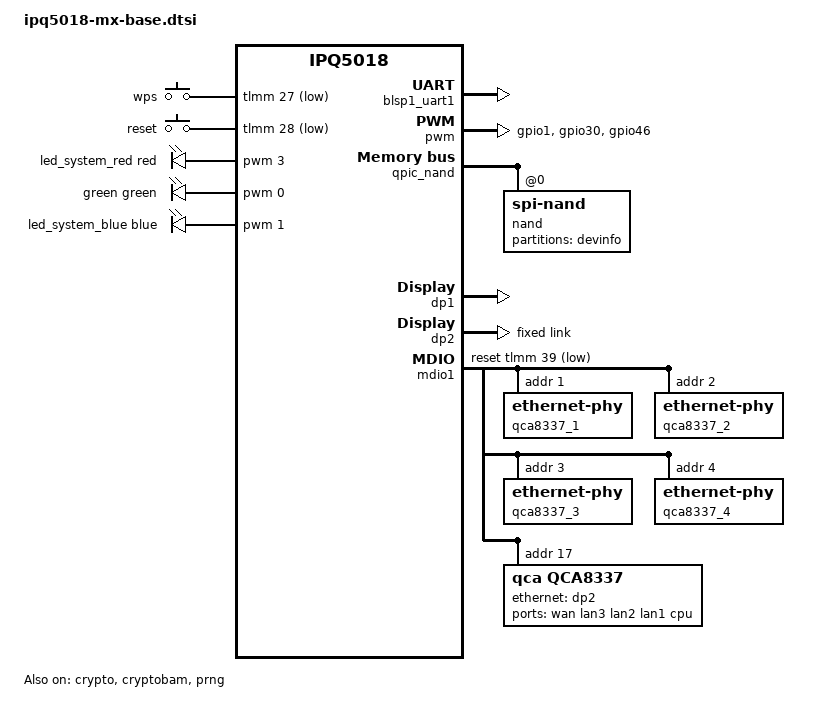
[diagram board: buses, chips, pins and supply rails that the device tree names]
// SPDX-License-Identifier: GPL-2.0-or-later OR MIT

#include "ipq5018.dtsi"
#include "ipq5018-ess.dtsi"
#include "ipq5018-nss.dtsi"

#include <dt-bindings/gpio/gpio.h>
#include <dt-bindings/input/input.h>
#include <dt-bindings/leds/common.h>

/ {

	aliases {
		led-boot = &led_system_blue;
		led-failsafe = &led_system_red;
		led-running = &led_system_blue;
		led-upgrade = &led_system_red;
		serial0 = &blsp1_uart1;
	};

	keys {
		compatible = "gpio-keys";

		wps-button {
			label = "wps";
			gpios = <&tlmm 27 GPIO_ACTIVE_LOW>;
			linux,code = <KEY_WPS_BUTTON>;
		};

		reset-button {
			label = "reset";
			gpios = <&tlmm 28 GPIO_ACTIVE_LOW>;
			linux,code = <KEY_RESTART>;
		};
	};

	leds {
		compatible = "pwm-leds";

		led_system_red: system-red {
			color = <LED_COLOR_ID_RED>;
			function = LED_FUNCTION_POWER;
			pwms = <&pwm 3 1250000>;
			max-brightness = <255>;
		};

		green {
			color = <LED_COLOR_ID_GREEN>;
			function = LED_FUNCTION_POWER;
			pwms = <&pwm 0 1250000>;
			max-brightness = <255>;
		};

		led_system_blue: system-blue {
			color = <LED_COLOR_ID_BLUE>;
			function = LED_FUNCTION_POWER;
			pwms = <&pwm 1 1250000>;
			max-brightness = <255>;
		};
	};
};

&sleep_clk {
	clock-frequency = <32000>;
};

&xo_board_clk {
	clock-div = <4>;
	clock-mult = <1>;
};

&blsp1_uart1 {
	status = "okay";

	pinctrl-0 = <&serial_0_pins>;
	pinctrl-names = "default";
};

&crypto {
	status = "okay";
};

&cryptobam {
	status = "okay";
};

&prng {
	status = "okay";
};

&pwm {
	status = "okay";

	#pwm-cells = <2>;
	pinctrl-0 = <&pwm_pins>;
	pinctrl-names = "default";
};

&qpic_nand {
	status = "okay";

	pinctrl-0 = <&qpic_pins>;
	pinctrl-names = "default";

	nand@0 {
		compatible = "spi-nand";
		reg = <0>;
		nand-ecc-engine = <&qpic_nand>;
		nand-ecc-strength = <4>;
		nand-ecc-step-size = <512>;
		nand-bus-width = <8>;

		partitions {
			compatible = "qcom,smem-part";

			partition-devinfo {
				label = "devinfo";
				read-only;

				nvmem-layout {
					compatible = "ascii-eq-delim-env";
					#address-cells = <1>;
					#size-cells = <1>;

					hw_mac_addr: hw_mac_addr {
						compatible = "mac-base";
						#nvmem-cell-cells = <1>;
					};
				};
			};
		};
	};
};

&tlmm {
	pwm_pins: pwm-pins {
		mux_1 {
			pins = "gpio1";
			function = "pwm1";
			drive-strength = <8>;
		};

		mux_2 {
			pins = "gpio30";
			function = "pwm3";
			drive-strength = <8>;
		};

		mux_3 {
			pins = "gpio46";
			function = "pwm0";
			drive-strength = <8>;
		};
	};
};

&dp1 {
	status = "okay";
};

&dp2 {
	status = "okay";

	nvmem-cells = <&hw_mac_addr 0>;
	nvmem-cell-names = "mac-address";

	fixed-link {
		speed = <1000>;
		full-duplex;
	};
};

&mdio1 {
	status = "okay";

	pinctrl-0 = <&mdio1_pins>;
	pinctrl-names = "default";
	reset-gpios = <&tlmm 39 GPIO_ACTIVE_LOW>;

	qca8337_1: ethernet-phy@1 {
		reg = <1>;
	};

	qca8337_2: ethernet-phy@2 {
		reg = <2>;
	};

	qca8337_3: ethernet-phy@3 {
		reg = <3>;
	};

	qca8337_4: ethernet-phy@4 {
		reg = <4>;
	};

	qca8337: ethernet-switch@17 {
		compatible = "qca,qca8337";
		#address-cells = <1>;
		#size-cells = <0>;
		reg = <17>;

		ports {
			#address-cells = <1>;
			#size-cells = <0>;

			port@2 {
				reg = <2>;
				label = "wan";
				phy-handle = <&qca8337_1>;
			};

			port@3 {
				reg = <3>;
				label = "lan3";
				phy-handle = <&qca8337_2>;
			};

			port@4 {
				reg = <4>;
				label = "lan2";
				phy-handle = <&qca8337_3>;
			};

			port@5 {
				reg = <5>;
				label = "lan1";
				phy-handle = <&qca8337_4>;
			};

			port@6 {
				reg = <6>;
				label = "cpu";
				phy-mode = "sgmii";
				ethernet = <&dp2>;
				qca,sgmii-enable-pll;

				fixed-link {
					speed = <1000>;
					full-duplex;
				};
			};
		};
	};
};
